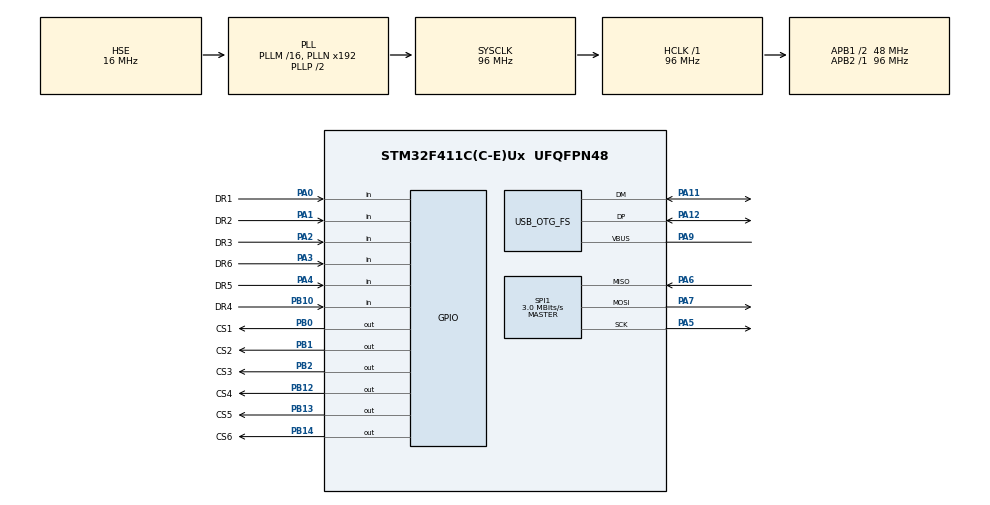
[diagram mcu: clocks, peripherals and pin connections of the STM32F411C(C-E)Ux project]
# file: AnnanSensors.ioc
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Mcu.Family=STM32F4
Mcu.Name=STM32F411C(C-E)Ux
Mcu.Package=UFQFPN48
NVIC.OTG_FS_IRQn=true\:0\:0\:false\:false\:true\:false\:true\:true
NVIC.PriorityGroup=NVIC_PRIORITYGROUP_4
PA0-WKUP.GPIO_Label=DR1
PA0-WKUP.GPIO_Mode=GPIO_MODE_INPUT
PA0-WKUP.Signal=GPIO_Input
PA1.GPIO_Label=DR2
PA1.Signal=GPIO_Input
PA11.Mode=Device_Only
PA11.Signal=USB_OTG_FS_DM
PA12.Mode=Device_Only
PA12.Signal=USB_OTG_FS_DP
PA13.Mode=Trace_Asynchronous_SW
PA13.Signal=SYS_JTMS-SWDIO
PA14.Mode=Trace_Asynchronous_SW
PA14.Signal=SYS_JTCK-SWCLK
PA2.GPIO_Label=DR3
PA2.Signal=GPIO_Input
PA3.GPIO_Label=DR6
PA3.Signal=GPIO_Input
PA4.GPIO_Label=DR5
PA4.Signal=GPIO_Input
PA5.Mode=Full_Duplex_Master
PA5.Signal=SPI1_SCK
PA6.Mode=Full_Duplex_Master
PA6.Signal=SPI1_MISO
PA7.Mode=Full_Duplex_Master
PA7.Signal=SPI1_MOSI
PA9.Mode=Activate_VBUS
PA9.Signal=USB_OTG_FS_VBUS
PB0.GPIO_Label=CS1
PB0.GPIO_Speed=GPIO_SPEED_FREQ_HIGH
PB0.PinState=GPIO_PIN_SET
PB0.Signal=GPIO_Output
PB1.GPIO_Label=CS2
PB1.GPIO_Speed=GPIO_SPEED_FREQ_HIGH
PB1.PinState=GPIO_PIN_SET
PB1.Signal=GPIO_Output
PB10.GPIO_Label=DR4
PB10.Signal=GPIO_Input
PB12.GPIO_Label=CS4
PB12.GPIO_Speed=GPIO_SPEED_FREQ_HIGH
PB12.PinState=GPIO_PIN_SET
PB12.Signal=GPIO_Output
PB13.GPIO_Label=CS5
PB13.GPIO_Speed=GPIO_SPEED_FREQ_HIGH
PB13.PinState=GPIO_PIN_SET
PB13.Signal=GPIO_Output
PB14.GPIO_Label=CS6
PB14.GPIO_Speed=GPIO_SPEED_FREQ_HIGH
PB14.PinState=GPIO_PIN_SET
PB14.Signal=GPIO_Output
PB2.GPIO_Label=CS3
PB2.GPIO_Speed=GPIO_SPEED_FREQ_HIGH
PB2.PinState=GPIO_PIN_SET
PB2.Signal=GPIO_Output
PB3.Mode=Trace_Asynchronous_SW
PB3.Signal=SYS_JTDO-SWO
PH0\ -\ OSC_IN.Mode=HSE-External-Oscillator
PH0\ -\ OSC_IN.Signal=RCC_OSC_IN
PH1\ -\ OSC_OUT.Mode=HSE-External-Oscillator
PH1\ -\ OSC_OUT.Signal=RCC_OSC_OUT
ProjectManager.HeapSize=0x200
ProjectManager.StackSize=0x400
ProjectManager.TargetToolchain=STM32CubeIDE
RCC.48MHZClocksFreq_Value=48000000
RCC.AHBFreq_Value=96000000
RCC.APB1CLKDivider=RCC_HCLK_DIV2
RCC.APB1Freq_Value=48000000
RCC.APB1TimFreq_Value=96000000
RCC.APB2Freq_Value=96000000
RCC.APB2TimFreq_Value=96000000
RCC.CortexFreq_Value=96000000
RCC.HCLKFreq_Value=96000000
RCC.HSE_VALUE=16000000
RCC.HSI_VALUE=16000000
RCC.LSE_VALUE=32768
RCC.SYSCLKFreq_VALUE=96000000
RCC.SYSCLKSource=RCC_SYSCLKSOURCE_PLLCLK
RCC.VCOOutputFreq_Value=192000000
SPI1.BaudRatePrescaler=SPI_BAUDRATEPRESCALER_32
SPI1.CLKPhase=SPI_PHASE_2EDGE
SPI1.CLKPolarity=SPI_POLARITY_LOW
SPI1.CalculateBaudRate=3.0 MBits/s
SPI1.Direction=SPI_DIRECTION_2LINES
SPI1.Mode=SPI_MODE_MASTER
SPI1.VirtualType=VM_MASTER
USB_DEVICE.CLASS_NAME_FS=CDC
USB_DEVICE.VirtualMode=Cdc
USB_DEVICE.VirtualModeFS=Cdc_FS
USB_OTG_FS.VirtualMode=Device_Only
VP_USB_DEVICE_VS_USB_DEVICE_CDC_FS.Mode=CDC_FS
board=custom

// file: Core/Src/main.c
/* USER CODE BEGIN Header */
/**
  ******************************************************************************
  * @file           : main.c
  * @brief          : Main program body
  ******************************************************************************
  * @attention
  *
  * Copyright (c) 2024 STMicroelectronics.
  * All rights reserved.
  *
  * This software is licensed under terms that can be found in the LICENSE file
  * in the root directory of this software component.
  * If no LICENSE file comes with this software, it is provided AS-IS.
  *
  ******************************************************************************
  */
/* USER CODE END Header */
#include "main.h"
#include "usb_device.h"

/* USER CODE BEGIN Includes */
#include "usbd_cdc_if.h"
#include "string.h"
/* USER CODE END Includes */

SPI_HandleTypeDef hspi1;

void SystemClock_Config(void);
static void MX_GPIO_Init(void);
static void MX_SPI1_Init(void);

/* USER CODE BEGIN 0 */
GPIO_TypeDef *selectPorts[6] = {CS1_GPIO_Port, CS2_GPIO_Port, CS3_GPIO_Port, CS4_GPIO_Port, CS5_GPIO_Port, CS6_GPIO_Port};
uint16_t selectPins[6] = {CS1_Pin, CS2_Pin, CS3_Pin, CS4_Pin, CS5_Pin, CS6_Pin};

GPIO_TypeDef *dataReadyPorts[6] = {DR1_GPIO_Port, DR2_GPIO_Port, DR3_GPIO_Port, DR4_GPIO_Port, DR5_GPIO_Port, DR6_GPIO_Port};
uint16_t dataReadyPins[6] = {DR1_Pin, DR2_Pin, DR3_Pin, DR4_Pin, DR5_Pin, DR6_Pin};

void ADS1220_Reset(uint8_t bus)
{
	uint8_t value = 0x06;
	HAL_GPIO_WritePin(selectPorts[bus], selectPins[bus],
			GPIO_PIN_RESET);
	HAL_SPI_Transmit(&hspi1, &value, 1, HAL_MAX_DELAY);
	HAL_GPIO_WritePin(selectPorts[bus], selectPins[bus],
			GPIO_PIN_SET);
}

void ADS1220_StartConversion(uint8_t bus)
{
	uint8_t value = 0x08;
	HAL_GPIO_WritePin(selectPorts[bus], selectPins[bus],
			GPIO_PIN_RESET);
	HAL_SPI_Transmit(&hspi1, &value, 1, HAL_MAX_DELAY);
	HAL_GPIO_WritePin(selectPorts[bus], selectPins[bus],
			GPIO_PIN_SET);
}

void ADS1220_ReadMeasurment(uint8_t bus, uint8_t *output)
{
	HAL_GPIO_WritePin(selectPorts[bus], selectPins[bus],
			GPIO_PIN_RESET);
	HAL_SPI_Receive(&hspi1, output, 3, HAL_MAX_DELAY);
	HAL_GPIO_WritePin(selectPorts[bus], selectPins[bus],
			GPIO_PIN_SET);
}

void ADS1220_WriteReg(uint8_t bus, uint8_t reg, uint8_t value)
{
	uint8_t regRW = 0x40 | (reg<<2);
	HAL_GPIO_WritePin(selectPorts[bus], selectPins[bus],
			GPIO_PIN_RESET);
	HAL_SPI_Transmit(&hspi1, &regRW, 1, HAL_MAX_DELAY);
	HAL_SPI_Transmit(&hspi1, &value, 1, HAL_MAX_DELAY);
	HAL_GPIO_WritePin(selectPorts[bus], selectPins[bus],
			GPIO_PIN_SET);
}

uint8_t ADS1220_ReadReg(uint8_t bus, uint8_t reg) {
	uint8_t data = 0;
	uint8_t regRW = 0x20 | (reg<<2);
	HAL_GPIO_WritePin(selectPorts[bus], selectPins[bus],
			GPIO_PIN_RESET);
	HAL_SPI_Transmit(&hspi1, &regRW, 1, HAL_MAX_DELAY);
	HAL_SPI_Receive(&hspi1, &data, 1, HAL_MAX_DELAY);
	HAL_GPIO_WritePin(selectPorts[bus], selectPins[bus],
			GPIO_PIN_SET);
	return data;
}

/* USER CODE END 0 */

int main(void)
{

  /* MCU Configuration--------------------------------------------------------*/

  /* Reset of all peripherals, Initializes the Flash interface and the Systick. */
  HAL_Init();

  /* Configure the system clock */
  SystemClock_Config();

  /* Initialize all configured peripherals */
  MX_GPIO_Init();
  MX_SPI1_Init();
  MX_USB_DEVICE_Init();
  /* USER CODE BEGIN 2 */
  HAL_Delay(50);

  for (int i = 0; i < 6; i++)
  {
	  ADS1220_Reset(i);
  }

  HAL_Delay(10);

  for (int i = 0; i < 6; i++)
  {
	  ADS1220_WriteReg(i, 0, 0b10000001);
	  ADS1220_WriteReg(i, 1, 0b11000100);
	  ADS1220_WriteReg(i, 2, 0b11000000);
	  ADS1220_WriteReg(i, 3, 0b00000000);
  }

  HAL_Delay(10);
  for (int i = 0; i < 6; i++)
  {
	  //set mux to 1
	  ADS1220_StartConversion(i);
  }
  /* USER CODE END 2 */

  /* Infinite loop */
  /* USER CODE BEGIN WHILE */
  while (1)
  {
	  uint8_t data[72] = {0};
	  for (int c = 0; c < 4; c++)
	  {
		  HAL_Delay(1);
		  for (int i = 0; i < 6; i++)
		  {
			  if (i == 1) {
				  continue;
			  }
			  ADS1220_StartConversion(i);
		  }
		  for (int i = 0; i < 6; i++)
		  {
			  if (i == 1) {
				  continue;
			  }
//			  ADS1220_StartConversion(i);
			  while (HAL_GPIO_ReadPin(dataReadyPorts[i], dataReadyPins[i])) {}
			  ADS1220_ReadMeasurment(i, data+(c*18+i*3));
			  ADS1220_WriteReg(i, 0, 0b10000001 | (((c+1)&3)<<4));
		  }
	  }
	  CDC_Transmit_FS(data, 72);
    /* USER CODE END WHILE */

  }
}

void SystemClock_Config(void)
{
  RCC_OscInitTypeDef RCC_OscInitStruct = {0};
  RCC_ClkInitTypeDef RCC_ClkInitStruct = {0};

  /** Configure the main internal regulator output voltage
  */
  __HAL_RCC_PWR_CLK_ENABLE();
  __HAL_PWR_VOLTAGESCALING_CONFIG(PWR_REGULATOR_VOLTAGE_SCALE1);

  /** Initializes the RCC Oscillators according to the specified parameters
  * in the RCC_OscInitTypeDef structure.
  */
  RCC_OscInitStruct.OscillatorType = RCC_OSCILLATORTYPE_HSE;
  RCC_OscInitStruct.HSEState = RCC_HSE_ON;
  RCC_OscInitStruct.PLL.PLLState = RCC_PLL_ON;
  RCC_OscInitStruct.PLL.PLLSource = RCC_PLLSOURCE_HSE;
  RCC_OscInitStruct.PLL.PLLM = 16;
  RCC_OscInitStruct.PLL.PLLN = 192;
  RCC_OscInitStruct.PLL.PLLP = RCC_PLLP_DIV2;
  RCC_OscInitStruct.PLL.PLLQ = 4;
  if (HAL_RCC_OscConfig(&RCC_OscInitStruct) != HAL_OK)
  {
    Error_Handler();
  }

  /** Initializes the CPU, AHB and APB buses clocks
  */
  RCC_ClkInitStruct.ClockType = RCC_CLOCKTYPE_HCLK|RCC_CLOCKTYPE_SYSCLK
                              |RCC_CLOCKTYPE_PCLK1|RCC_CLOCKTYPE_PCLK2;
  RCC_ClkInitStruct.SYSCLKSource = RCC_SYSCLKSOURCE_PLLCLK;
  RCC_ClkInitStruct.AHBCLKDivider = RCC_SYSCLK_DIV1;
  RCC_ClkInitStruct.APB1CLKDivider = RCC_HCLK_DIV2;
  RCC_ClkInitStruct.APB2CLKDivider = RCC_HCLK_DIV1;

  if (HAL_RCC_ClockConfig(&RCC_ClkInitStruct, FLASH_LATENCY_3) != HAL_OK)
  {
    Error_Handler();
  }
}

static void MX_SPI1_Init(void)
{

  /* SPI1 parameter configuration*/
  hspi1.Instance = SPI1;
  hspi1.Init.Mode = SPI_MODE_MASTER;
  hspi1.Init.Direction = SPI_DIRECTION_2LINES;
  hspi1.Init.DataSize = SPI_DATASIZE_8BIT;
  hspi1.Init.CLKPolarity = SPI_POLARITY_LOW;
  hspi1.Init.CLKPhase = SPI_PHASE_2EDGE;
  hspi1.Init.NSS = SPI_NSS_SOFT;
  hspi1.Init.BaudRatePrescaler = SPI_BAUDRATEPRESCALER_32;
  hspi1.Init.FirstBit = SPI_FIRSTBIT_MSB;
  hspi1.Init.TIMode = SPI_TIMODE_DISABLE;
  hspi1.Init.CRCCalculation = SPI_CRCCALCULATION_DISABLE;
  hspi1.Init.CRCPolynomial = 10;
  if (HAL_SPI_Init(&hspi1) != HAL_OK)
  {
    Error_Handler();
  }

}

static void MX_GPIO_Init(void)
{
  GPIO_InitTypeDef GPIO_InitStruct = {0};

  /* GPIO Ports Clock Enable */
  __HAL_RCC_GPIOH_CLK_ENABLE();
  __HAL_RCC_GPIOA_CLK_ENABLE();
  __HAL_RCC_GPIOB_CLK_ENABLE();

  /*Configure GPIO pin Output Level */
  HAL_GPIO_WritePin(GPIOB, CS1_Pin|CS2_Pin|CS3_Pin|CS4_Pin
                          |CS5_Pin|CS6_Pin, GPIO_PIN_SET);

  /*Configure GPIO pins : DR1_Pin DR2_Pin DR3_Pin DR6_Pin
                           DR5_Pin */
  GPIO_InitStruct.Pin = DR1_Pin|DR2_Pin|DR3_Pin|DR6_Pin
                          |DR5_Pin;
  GPIO_InitStruct.Mode = GPIO_MODE_INPUT;
  GPIO_InitStruct.Pull = GPIO_NOPULL;
  HAL_GPIO_Init(GPIOA, &GPIO_InitStruct);

  /*Configure GPIO pins : CS1_Pin CS2_Pin CS3_Pin CS4_Pin
                           CS5_Pin CS6_Pin */
  GPIO_InitStruct.Pin = CS1_Pin|CS2_Pin|CS3_Pin|CS4_Pin
                          |CS5_Pin|CS6_Pin;
  GPIO_InitStruct.Mode = GPIO_MODE_OUTPUT_PP;
  GPIO_InitStruct.Pull = GPIO_NOPULL;
  GPIO_InitStruct.Speed = GPIO_SPEED_FREQ_HIGH;
  HAL_GPIO_Init(GPIOB, &GPIO_InitStruct);

  /*Configure GPIO pin : DR4_Pin */
  GPIO_InitStruct.Pin = DR4_Pin;
  GPIO_InitStruct.Mode = GPIO_MODE_INPUT;
  GPIO_InitStruct.Pull = GPIO_NOPULL;
  HAL_GPIO_Init(DR4_GPIO_Port, &GPIO_InitStruct);

}

void Error_Handler(void)
{
  __disable_irq();
  while (1)
  {
  }
}
